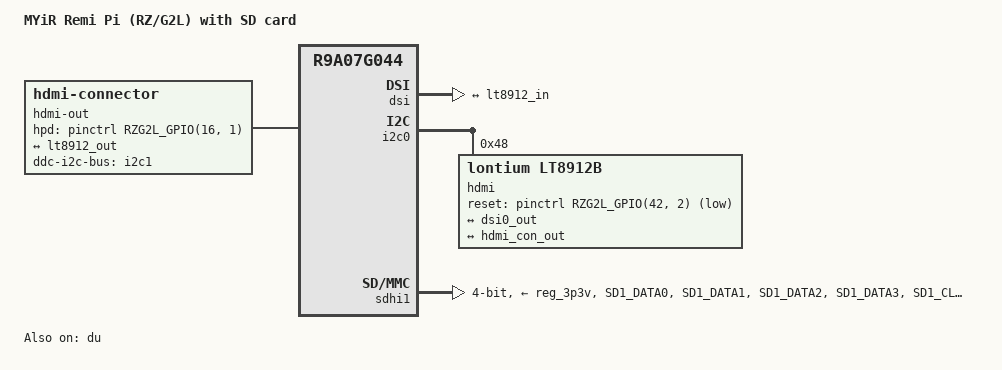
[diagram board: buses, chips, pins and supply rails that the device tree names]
// SPDX-License-Identifier: GPL-2.0
/*
 * Device Tree Source for the MYiR Remi Pi (RZ/G2L) board, SD card variant.
 *
 * MIPI-DSI is routed through a Lontium LT8912B bridge to HDMI.
 *
 * Migrated from the MYiR vendor Linux 5.10 BSP to the Renesas linux-cip
 * 6.12 kernel.
 *
 * Copyright (C) 2022 MYiR Electronics Corp.
 */

/dts-v1/;
#include "mys-rzg2l-smarc-base.dtsi"

/ {
	model = "MYiR Remi Pi (RZ/G2L) with SD card";
	compatible = "myir,remi-pi-sdcard", "myir,remi-pi",
		     "renesas,r9a07g044l2", "renesas,r9a07g044";

	hdmi-out {
		compatible = "hdmi-connector";
		type = "d";
		/*
		 * The monitor's HPD is wired to this SoC GPIO, not to the LT8912B's own
		 * HPD input (the chip's reg 0xC1 always reads 0). Without it the
		 * connector detection fails and no mode is ever set.
		 */
		hpd-gpios = <&pinctrl RZG2L_GPIO(16, 1) GPIO_ACTIVE_HIGH>;

		/*
		 * The monitor's DDC/EDID lines are routed to RIIC1 on this board (the
		 * monitor's EDID is readable at i2c-1 address 0x50), NOT to i2c0 as the
		 * vendor DTS claims -- vendor never used the property, its EDID code is
		 * commented out and it forces a fixed 1080p mode instead.
		 * Named after the connector so drm_edid_read_ddc() can use it.
		 */
		ddc-i2c-bus = <&i2c1>;

		port {
			hdmi_con_out: endpoint {
				remote-endpoint = <&lt8912_out>;
			};
		};
	};
};

&pinctrl {
	sdhi1_pins: sd1 {
		sd1_data {
			pins = "SD1_DATA0", "SD1_DATA1", "SD1_DATA2", "SD1_DATA3";
			power-source = <3300>;
		};

		sd1_ctrl {
			pins = "SD1_CLK", "SD1_CMD";
			power-source = <3300>;
		};

		sd1_mux {
			pinmux = <RZG2L_PORT_PINMUX(19, 0, 1)>; /* SD1_CD */
		};
	};

	sdhi1_pins_uhs: sd1_uhs {
		sd1_data_uhs {
			pins = "SD1_DATA0", "SD1_DATA1", "SD1_DATA2", "SD1_DATA3";
			power-source = <3300>;
		};

		sd1_ctrl_uhs {
			pins = "SD1_CLK", "SD1_CMD";
			power-source = <3300>;
		};

		sd1_mux_uhs {
			pinmux = <RZG2L_PORT_PINMUX(19, 0, 1)>; /* SD1_CD */
		};
	};
};

&du {
	status = "okay";
};

/* MIPI DSI -> LT8912B -> HDMI */
&dsi {
	status = "okay";

	ports {
		port@1 {
			dsi0_out: endpoint {
				data-lanes = <1 2 3 4>;
				remote-endpoint = <&lt8912_in>;
			};
		};
	};
};

&i2c0 {
	/* MIPI-DSI to HDMI bridge */
	hdmi@48 {
		compatible = "lontium,lt8912b";
		reg = <0x48>;
		/*
		 * The LT8912B RESET pin is active low on this board: driving it low
		 * holds the chip in reset (all I2C reads then fail). The vendor driver
		 * uses raw direction/value calls, hence GPIO_ACTIVE_HIGH there; the
		 * mainline driver uses gpiod logical levels, so the flag must be
		 * GPIO_ACTIVE_LOW to drive the pin high when releasing reset.
		 */
		reset-gpios = <&pinctrl RZG2L_GPIO(42, 2) GPIO_ACTIVE_LOW>;

		ports {
			#address-cells = <1>;
			#size-cells = <0>;

			port@0 {
				reg = <0>;
				lt8912_in: endpoint {
					data-lanes = <1 2 3 4>;
					remote-endpoint = <&dsi0_out>;
				};
			};

			port@1 {
				reg = <1>;
				lt8912_out: endpoint {
					remote-endpoint = <&hdmi_con_out>;
				};
			};
		};
	};

	ft5x06: touchscreen@38 {
		compatible = "edt,edt-ft5406";
		reg = <0x38>;
		status = "disabled"; /* EDT FT5x06 is not populated on this board. */
		interrupt-parent = <&pinctrl>;
		interrupts = <RZG2L_GPIO(48, 2) IRQ_TYPE_EDGE_FALLING>;
		reset-gpios = <&pinctrl RZG2L_GPIO(42, 3) GPIO_ACTIVE_LOW>;
		touchscreen-size-x = <1024>;
		touchscreen-size-y = <600>;
	};
};

/*
 * microSD card on SDHI1. Card detect uses the SoC native SD1_CD pin
 * (muxed above), so no cd-gpios is needed.
 */
&sdhi1 {
	pinctrl-0 = <&sdhi1_pins>;
	pinctrl-1 = <&sdhi1_pins_uhs>;
	pinctrl-names = "default", "state_uhs";
	vmmc-supply = <&reg_3p3v>;
	vqmmc-supply = <&reg_3p3v>;
	bus-width = <4>;
	disable-wp;
	status = "okay";
};
